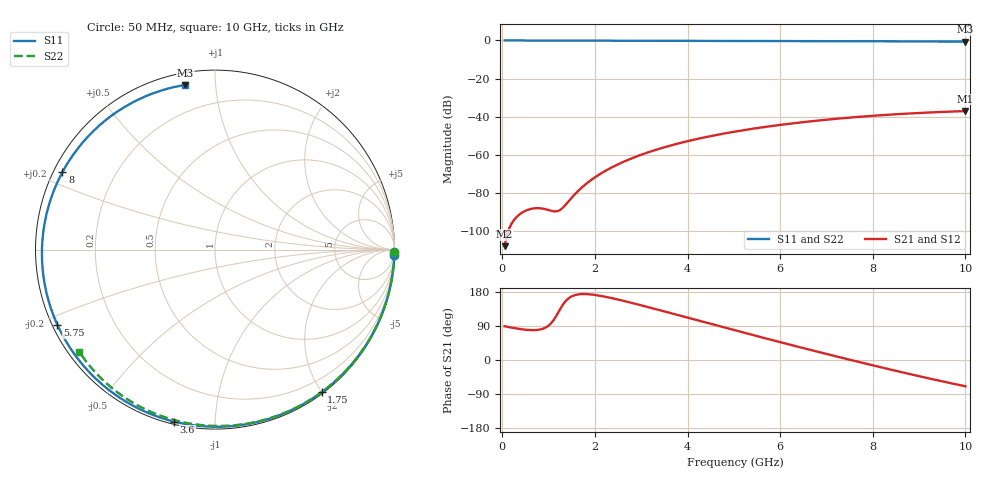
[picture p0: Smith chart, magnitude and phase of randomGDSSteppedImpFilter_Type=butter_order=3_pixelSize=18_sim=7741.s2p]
! freq	dB(S11)	phase(S11)	dB(S12)	phase(S12)
!  dB(S21)	phase(S21)	dB(S22)	phase(S22)
!S-par simulation data
#  GHz  S  DB  R 50
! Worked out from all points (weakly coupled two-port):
!   200 points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, 50 MHz to 10 GHz, reference 50 ohm
!   highest |S21| = -36.99 dB at 10 GHz (marker M1); lowest = -107.8 dB at 50 MHz (marker M2)
!   lowest |S11| = -0.6 dB at 10 GHz (marker M3), VSWR 28.60, Z = 2.97 + j41.7 ohm
!   |S11| at or under -10 dB: nowhere
!   |S22| runs from -0.5 to 0.0 dB; largest |S21 - S12| = 0
!   S11 on the Smith chart (normalised r, x): 50 MHz: 0, -72; 1.75 GHz: 0.02, -1.99; 3.6 GHz: 0.01, -0.79; 5.75 GHz: 0.01, -0.23; 8 GHz: 0.03, +0.24; 10 GHz: 0.06, +0.83
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0.05  -0.00 -1.6  -107.76 89.0  -107.76 89.0  -0.00 -0.8
0.4  -0.02 -12.5  -90.61 81.4  -90.61 81.4  -0.01 -6.6
0.75  -0.03 -23.3  -87.85 79.3  -87.85 79.3  -0.02 -12.3
1.15  -0.04 -35.5  -89.59 113.2  -89.59 113.2  -0.02 -18.8
1.55  -0.06 -47.4  -81.02 170.5  -81.02 170.5  -0.03 -25.3
1.6  -0.06 -48.9  -79.75 172.2  -79.75 172.2  -0.03 -26.1
1.75  -0.07 -53.3  -76.34 174.1  -76.34 174.1  -0.04 -28.5
2.05  -0.08 -61.9  -70.90 170.8  -70.90 170.8  -0.04 -33.2
2.45  -0.09 -73.1  -65.45 160.9  -65.45 160.9  -0.05 -39.5
2.9  -0.11 -85.3  -60.76 147.4  -60.76 147.4  -0.06 -46.5
3.4  -0.12 -98.3  -56.67 131.4  -56.67 131.4  -0.07 -54.1
3.6  -0.13 -103.4  -55.26 124.9  -55.26 124.9  -0.08 -57.1
4.3  -0.16 -120.6  -51.11 101.9  -51.11 101.9  -0.09 -67.4
5.05  -0.20 -138.3  -47.64 77.5  -47.64 77.5  -0.12 -78.2
5.75  -0.24 -154.5  -45.05 55.0  -45.05 55.0  -0.15 -87.9
6.25  -0.27 -165.9  -43.49 39.2  -43.49 39.2  -0.17 -94.7
6.7  -0.31 -176.2  -42.25 25.2  -42.25 25.2  -0.19 -100.7
7.35  -0.36 168.6  -40.73 5.3  -40.73 5.3  -0.23 -109.2
8  -0.42 153.0  -39.46 -14.1  -39.46 -14.1  -0.28 -117.6
8.35  -0.45 144.4  -38.89 -24.3  -38.89 -24.3  -0.31 -122.0
9.25  -0.53 121.0  -37.70 -49.6  -37.70 -49.6  -0.39 -133.4
10  -0.61 100.2  -36.99 -69.4  -36.99 -69.4  -0.47 -143.0
